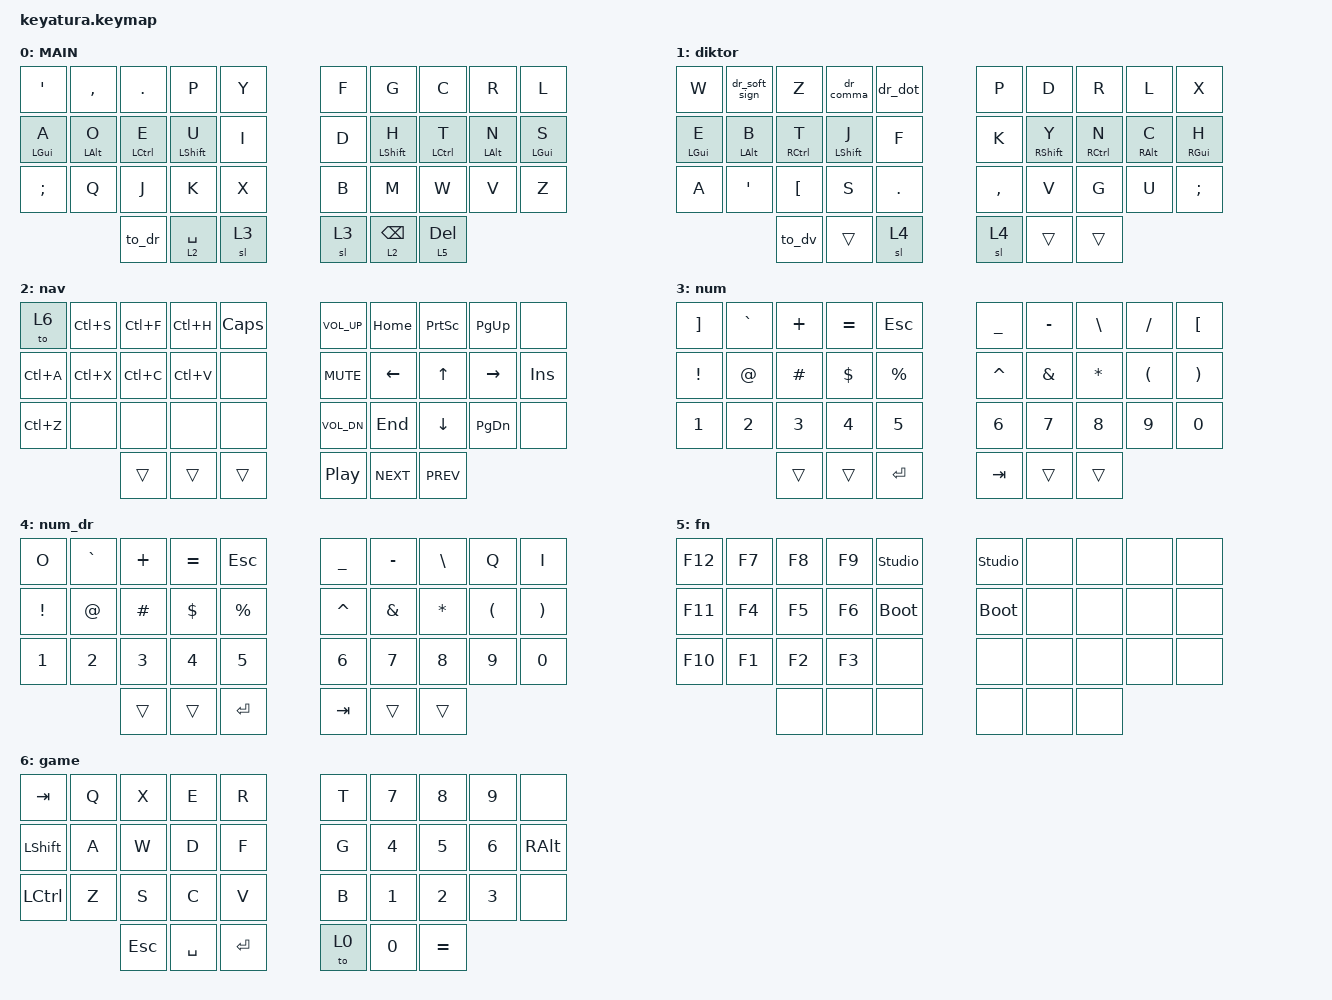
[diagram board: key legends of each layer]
#include <behaviors/vfx_indicator.dtsi>
#include <behaviors.dtsi>
#include <dt-bindings/zmk/bt.h>
#include <dt-bindings/zmk/keys.h>
#include <dt-bindings/zmk/outputs.h>

#define BASE 0
#define NAV 1
#define MOUSE 2
#define MEDIA 3
#define NUM 4
#define SYM 5
#define FUN 6
#define ADJ 7

/ {
    behaviors {
        hm: homerow_mods {
            compatible = "zmk,behavior-hold-tap";
            label = "HOMEROW_MODS";
            #binding-cells = <2>;
            tapping-term-ms = <140>;
            quick_tap_ms = <0>;
            flavor = "balanced";
            bindings = <&kp>, <&kp>;
        };

        dr_dot: dr_dot {
            compatible = "zmk,behavior-mod-morph";
            label = "DR_DOT";
            bindings = <&kp SLASH>, <&kp EXCL>;

            #binding-cells = <0>;
            mods = <(MOD_LSFT|MOD_RSFT)>;
        };

        dr_comma: dr_comma {
            compatible = "zmk,behavior-mod-morph";
            label = "DR_COMMA";
            bindings = <&kp LS(SLASH)>, <&kp LS(N7)>;

            #binding-cells = <0>;
            mods = <(MOD_LSFT|MOD_RSFT)>;
        };

        dr_soft_sign: dr_soft_sign {
            compatible = "zmk,behavior-mod-morph";
            label = "DR_SOFT_SIGN";
            bindings = <&kp M>, <&kp RIGHT_BRACKET>;

            #binding-cells = <0>;
            mods = <(MOD_LSFT|MOD_RSFT)>;
        };
    };

    combos { compatible = "zmk,combos"; };

    macros {
        to_dr: togl_dr {
            compatible = "zmk,behavior-macro";
            #binding-cells = <0>;
            bindings = <&kp LC(LS(NUMBER_2)) &to 1>;
            label = "TOGL_DR";
        };

        to_dv: to_dv {
            compatible = "zmk,behavior-macro";
            #binding-cells = <0>;
            bindings = <&kp LC(LS(NUMBER_1)) &to 0>;
            label = "TO_DV";
        };
    };

    keymap {
        compatible = "zmk,keymap";

        dvorak {
            display-name = "MAIN";
            bindings = <
&kp SQT     &kp COMMA   &kp DOT      &kp P        &kp Y        &kp F  &kp G        &kp C            &kp R       &kp L
&hm LGUI A  &hm LALT O  &hm LCTRL E  &hm LSHFT U  &kp I        &kp D  &hm LSHFT H  &hm LCTRL T      &hm LALT N  &hm LGUI S
&kp SEMI    &kp Q       &kp J        &kp K        &kp X        &kp B  &kp M        &kp W            &kp V       &kp Z
                                     &to_dr       &lt 2 SPACE  &sl 3  &sl 3        &lt 2 BACKSPACE  &lt 5 DEL
            >;
        };

        diktor {
            bindings = <
&kp W           &dr_soft_sign   &kp Z        &dr_comma         &dr_dot  &kp P      &kp D              &kp R        &kp L            &kp X
&hm LEFT_GUI E  &hm LEFT_ALT B  &hm RCTRL T  &hm LEFT_SHIFT J  &kp F    &kp K      &hm RIGHT_SHIFT Y  &hm RCTRL N  &hm RIGHT_ALT C  &hm RIGHT_GUI H
&kp A           &kp APOS        &kp LBKT     &kp S             &kp DOT  &kp COMMA  &kp V              &kp G        &kp U            &kp SEMI
                                             &to_dv            &trans   &sl 4      &sl 4              &trans       &trans
            >;
        };

        nav {
            bindings = <
&to 6      &kp LC(S)  &kp LC(F)  &kp LC(H)  &kp CAPS  &kp C_VOL_UP  &kp HOME  &kp PRINTSCREEN  &kp PG_UP      &none
&kp LC(A)  &kp LC(X)  &kp LC(C)  &kp LC(V)  &none     &kp C_MUTE    &kp LEFT  &kp UP           &kp RIGHT      &kp INS
&kp LC(Z)  &none      &none      &none      &none     &kp C_VOL_DN  &kp END   &kp DOWN         &kp PAGE_DOWN  &none
                                 &trans     &trans    &trans        &kp C_PP  &kp C_NEXT       &kp C_PREV
            >;
        };

        num {
            bindings = <
&kp RBKT         &kp GRAVE  &kp PLUS  &kp EQUAL   &kp ESCAPE   &kp UNDER  &kp MINUS      &kp BSLH      &kp FSLH              &kp LBKT
&kp EXCLAMATION  &kp AT     &kp HASH  &kp DOLLAR  &kp PERCENT  &kp CARET  &kp AMPERSAND  &kp ASTERISK  &kp LEFT_PARENTHESIS  &kp RIGHT_PARENTHESIS
&kp N1           &kp N2     &kp N3    &kp N4      &kp N5       &kp N6     &kp N7         &kp N8        &kp N9                &kp N0
                                      &trans      &trans       &kp ENTER  &kp TAB        &trans        &trans
            >;
        };

        num_dr {
            bindings = <
&kp O            &kp GRAVE  &kp PLUS  &kp EQUAL   &kp ESCAPE   &kp UNDER  &kp MINUS      &kp BSLH      &kp Q                 &kp I
&kp EXCLAMATION  &kp AT     &kp HASH  &kp DOLLAR  &kp PERCENT  &kp CARET  &kp AMPERSAND  &kp ASTERISK  &kp LEFT_PARENTHESIS  &kp RIGHT_PARENTHESIS
&kp N1           &kp N2     &kp N3    &kp N4      &kp N5       &kp N6     &kp N7         &kp N8        &kp N9                &kp N0
                                      &trans      &trans       &kp ENTER  &kp TAB        &trans        &trans
            >;
        };

        fn {
            bindings = <
&kp F12  &kp F7  &kp F8  &kp F9  &studio_unlock  &studio_unlock  &none  &none  &none  &none
&kp F11  &kp F4  &kp F5  &kp F6  &bootloader     &bootloader     &none  &none  &none  &none
&kp F10  &kp F1  &kp F2  &kp F3  &none           &none           &none  &none  &none  &none
                         &none   &none           &none           &none  &none  &none
            >;
        };

        game {
            bindings = <
&kp TAB    &kp Q  &kp X  &kp E    &kp R      &kp T      &kp N7  &kp N8  &kp N9     &none
&kp LSHFT  &kp A  &kp W  &kp D    &kp F      &kp G      &kp N4  &kp N5  &kp N6     &kp RALT
&kp LCTRL  &kp Z  &kp S  &kp C    &kp V      &kp B      &kp N1  &kp N2  &kp N3     &none
                         &kp ESC  &kp SPACE  &kp ENTER  &to 0   &kp N0  &kp EQUAL
            >;
        };
    };
};
